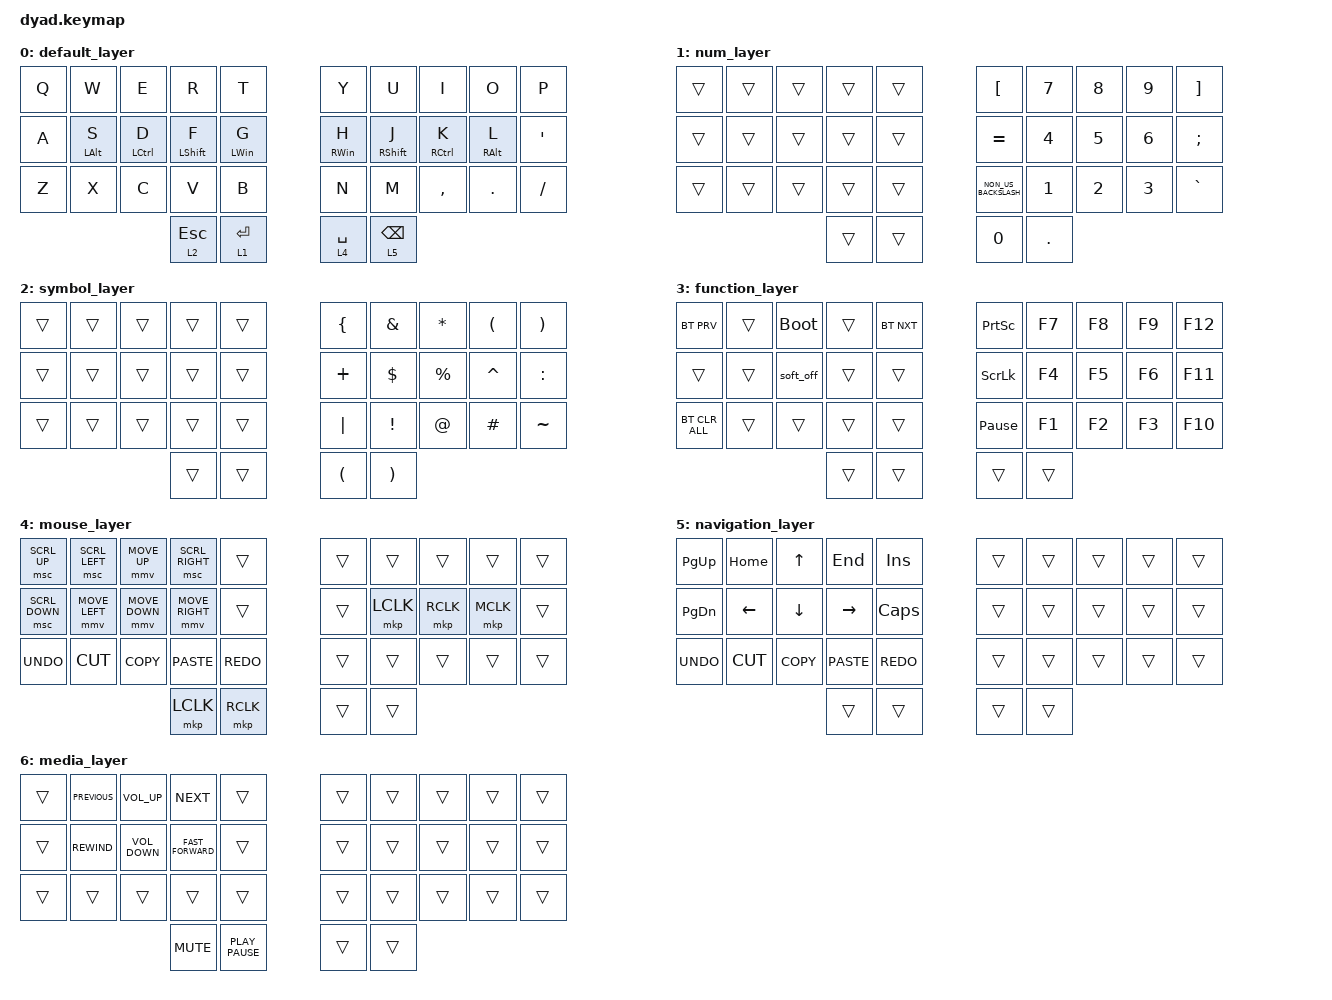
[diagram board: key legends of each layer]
#define ZMK_POINTING_DEFAULT_MOVE_VAL 1200  // default: 600
#define ZMK_POINTING_DEFAULT_SCRL_VAL 20    // default: 10

#include <behaviors.dtsi>
#include <dt-bindings/zmk/bt.h>
#include <dt-bindings/zmk/keys.h>
#include <dt-bindings/zmk/pointing.h>
#include <dt-bindings/zmk/mouse.h>
#include <dt-bindings/zmk/outputs.h>

&mt {
    tapping-term-ms = <120>;
    flavor = "tap-preferred";
};

/ {
    combos {
        compatible = "zmk,combos";

        backspace_combo {
            bindings = <&kp BACKSPACE>;
            key-positions = <9 19>;
            layers = <0>;
        };

        minus_combo {
            bindings = <&kp MINUS>;
            key-positions = <32 33>;
            layers = <1>;
        };

        undo_combo {
            bindings = <&kp LC(Z)>;
            key-positions = <20 10>;
            layers = <1>;
        };

        tab_combo {
            bindings = <&lt 3 TAB>;
            key-positions = <30 31>;
            layers = <0>;
        };

        escape_combo {
            bindings = <&kp ESC>;
            key-positions = <0 10>;
            layers = <0>;
        };

        delete_comb {
            bindings = <&lt 6 DELETE>;
            key-positions = <33 32>;
            layers = <0>;
        };

        tab2_combo {
            bindings = <&kp TAB>;
            key-positions = <10 11>;
        };

        copy_combo {
            bindings = <&kp LC(C)>;
            key-positions = <22 12>;
        };

        paste_combo {
            bindings = <&kp LC(P)>;
            key-positions = <23 13>;
        };

        cut_combo {
            bindings = <&kp LC(X)>;
            key-positions = <21 22>;
        };

        F5_combo {
            bindings = <&kp F5>;
            key-positions = <24 14>;
        };

        prtscn_combo {
            bindings = <&kp PRINTSCREEN>;
            key-positions = <15 5>;
        };

        underscore_combo {
            bindings = <&kp UNDERSCORE>;
            key-positions = <32 33>;
            layers = <2>;
        };

        middle_click_combo {
            bindings = <&mkp MCLK>;
            key-positions = <30 31>;
            layers = <4>;
        };

        pin_combo {
            bindings = <&pin_macro>;
            key-positions = <30 33 31 32>;
        };
    };

    macros {
        pin_macro: pin_macro {
            compatible = "zmk,behavior-macro";
            #binding-cells = <0>;
            bindings = <&kp N5 &kp NUMBER_6 &kp N7 &kp N8 &kp N9 &kp N0 &kp ENTER>;
            label = "PIN_MACRO";
        };
    };

    keymap {
        compatible = "zmk,keymap";

        default_layer {
            // -----------------------------------------------------------------------------------------
            // |  TAB |  Q  |  W  |  E  |  R  |  T  |   |  Y  |  U   |  I  |  O  |  P  | BSPC |
            // | CTRL |  A  |  S  |  D  |  F  |  G  |   |  H  |  J   |  K  |  L  |  ;  |  '   |
            // | SHFT |  Z  |  X  |  C  |  V  |  B  |   |  N  |  M   |  ,  |  .  |  /  | ESC  |
            //                    | GUI | LWR | SPC |   | ENT | RSE  | ALT |

            bindings = <
&kp Q  &kp W           &kp E               &kp R             &kp T             &kp Y            &kp U              &kp I                &kp O            &kp P
&kp A  &mt LEFT_ALT S  &mt LEFT_CONTROL D  &mt LEFT_SHIFT F  &mt LEFT_WIN G    &mt RIGHT_WIN H  &mt RIGHT_SHIFT J  &mt RIGHT_CONTROL K  &mt RIGHT_ALT L  &kp APOS
&kp Z  &kp X           &kp C               &kp V             &kp B             &kp N            &kp M              &kp COMMA            &kp PERIOD       &kp SLASH
                                           &lt 2 ESC         &lt 1 ENTER       &lt 4 SPACE      &lt 5 BACKSPACE
            >;
        };

        num_layer {
            // -----------------------------------------------------------------------------------------
            // |  TAB |  1  |  2  |  3  |  4  |  5  |   |  6  |  7  |  8  |  9  |  0  | BSPC |
            // | BTCLR| BT1 | BT2 | BT3 | BT4 | BT5 |   | LFT | DWN |  UP | RGT |     |      |
            // | SHFT |     |     |     |     |     |   |     |     |     |     |     |      |
            //                    | GUI |     | SPC |   | ENT |     | ALT |

            bindings = <
&trans  &trans  &trans  &trans  &trans    &kp LEFT_BRACKET      &kp N7        &kp N8        &kp N9        &kp RIGHT_BRACKET
&trans  &trans  &trans  &trans  &trans    &kp EQUAL             &kp NUMBER_4  &kp N5        &kp NUMBER_6  &kp SEMICOLON
&trans  &trans  &trans  &trans  &trans    &kp NON_US_BACKSLASH  &kp NUMBER_1  &kp NUMBER_2  &kp NUMBER_3  &kp GRAVE
                        &trans  &trans    &kp N0                &kp PERIOD
            >;
        };

        symbol_layer {
            bindings = <
&trans  &trans  &trans  &trans  &trans    &kp LEFT_BRACE        &kp AMPERSAND          &kp ASTERISK  &kp LEFT_PARENTHESIS  &kp RIGHT_PARENTHESIS
&trans  &trans  &trans  &trans  &trans    &kp PLUS              &kp DOLLAR             &kp PERCENT   &kp CARET             &kp COLON
&trans  &trans  &trans  &trans  &trans    &kp PIPE              &kp EXCLAMATION        &kp AT_SIGN   &kp HASH              &kp TILDE
                        &trans  &trans    &kp LEFT_PARENTHESIS  &kp RIGHT_PARENTHESIS
            >;
        };

        function_layer {
            bindings = <
&bt BT_PRV      &trans  &bootloader  &trans  &bt BT_NXT    &kp PRINTSCREEN  &kp F7  &kp F8  &kp F9  &kp F12
&trans          &trans  &soft_off    &trans  &trans        &kp SCROLLLOCK   &kp F4  &kp F5  &kp F6  &kp F11
&bt BT_CLR_ALL  &trans  &trans       &trans  &trans        &kp PAUSE_BREAK  &kp F1  &kp F2  &kp F3  &kp F10
                                     &trans  &trans        &trans           &trans
            >;
        };

        mouse_layer {
            bindings = <
&msc SCRL_UP    &msc SCRL_LEFT  &mmv MOVE_UP    &msc SCRL_RIGHT  &trans        &trans  &trans     &trans     &trans     &trans
&msc SCRL_DOWN  &mmv MOVE_LEFT  &mmv MOVE_DOWN  &mmv MOVE_RIGHT  &trans        &trans  &mkp LCLK  &mkp RCLK  &mkp MCLK  &trans
&kp K_UNDO      &kp K_CUT       &kp K_COPY      &kp K_PASTE      &kp K_REDO    &trans  &trans     &trans     &trans     &trans
                                                &mkp LCLK        &mkp RCLK     &trans  &trans
            >;
        };

        navigation_layer {
            bindings = <
&kp PAGE_UP    &kp HOME        &kp UP_ARROW    &kp END      &kp INSERT      &trans  &trans  &trans  &trans  &trans
&kp PAGE_DOWN  &kp LEFT_ARROW  &kp DOWN_ARROW  &kp RIGHT    &kp CAPSLOCK    &trans  &trans  &trans  &trans  &trans
&kp K_UNDO     &kp K_CUT       &kp K_COPY      &kp K_PASTE  &kp K_REDO      &trans  &trans  &trans  &trans  &trans
                                               &trans       &trans          &trans  &trans
            >;
        };

        media_layer {
            bindings = <
&trans  &kp K_PREVIOUS  &kp C_VOLUME_UP    &kp K_NEXT          &trans              &trans  &trans  &trans  &trans  &trans
&trans  &kp C_REWIND    &kp C_VOLUME_DOWN  &kp C_FAST_FORWARD  &trans              &trans  &trans  &trans  &trans  &trans
&trans  &trans          &trans             &trans              &trans              &trans  &trans  &trans  &trans  &trans
                                           &kp K_MUTE          &kp K_PLAY_PAUSE    &trans  &trans
            >;
        };
    };
};
